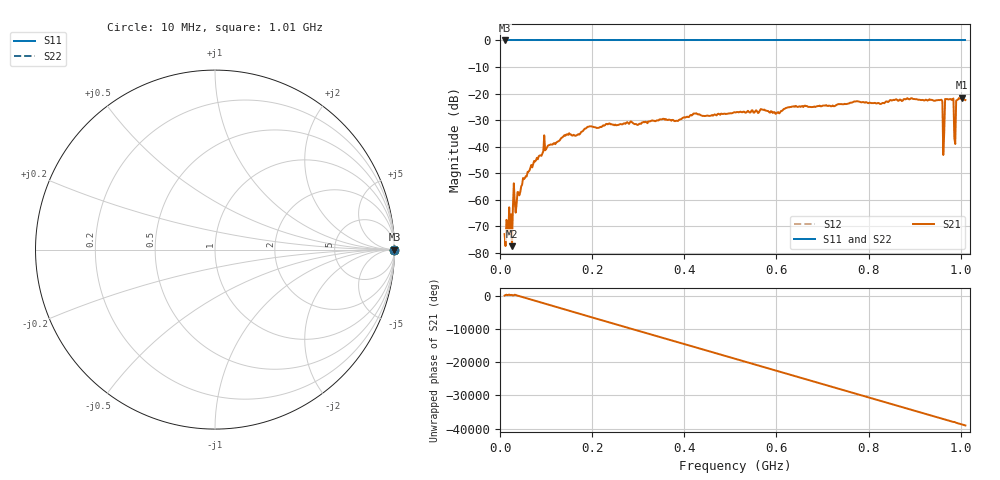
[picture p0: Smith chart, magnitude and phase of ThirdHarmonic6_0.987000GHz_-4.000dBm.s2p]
! 8/16/2025 7:44:39 AM
! C:\ANRITSUVNA\TEMP\TEMP.S2P
! CHANNEL.1
! TR.MEASUREMENT
! RAW.DATA
! RF.CORRECTION.OFF
! AVERAGING.OFF
! IF.BANDWIDTH: 5KHZ
! SWEEPTYPE:  FREQ.SWEEP(Linear)
! Reference Plane Port Info
! PORT:  PORT1  PORT2
! DISTANCE:  0  m  0  m
! TIME:  0  s  0  s
! PHASE.OFFSET:  0  deg.  0  deg.
! LOSS:  0  dB  0  dB
! REF.LOSS:  0  dB  0  dB
! REF.FREQ:  0  Hz  0  Hz
! Power Info
! POWER:  -20  dBm  -20  dBm
! EFF.POWER:  -20  dBm  -20  dBm
! SOURCE.ATTEN:  0  dB  0  dB
! TEST.ATTEN:  0  dB  0  dB
# GHZ S RI R 50.0
! FREQ.GHZ  S11RE  S11IM  S21RE  S21IM  S12RE  S12IM  S22RE  S22IM
!; PortSelection: Port_12
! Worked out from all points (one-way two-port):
!   501 points, 10 MHz to 1.01 GHz, reference 50 ohm
!   highest |S21| = -21.53 dB at 1.002 GHz (marker M1); lowest = -77.4 dB at 26 MHz (marker M2)
!   lowest |S11| = 0.0 dB at 10 MHz (marker M3)
!   |S11| at or under -10 dB: nowhere
!   |S22| runs from 0.0 to 0.0 dB; largest |S21 - S12| = 1.1
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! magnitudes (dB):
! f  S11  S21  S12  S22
! 10 MHz  0.0  -72.9  0.0  0.0
! 20 MHz  0.0  -62.8  0.0  0.0
! 22 MHz  0.0  -72.8  0.0  0.0
! 26 MHz  0.0  -77.4  0.0  0.0
! 34 MHz  0.0  -64.8  0.0  0.0
! 52 MHz  0.0  -52.2  0.0  0.0
! 98 MHz  0.0  -41.3  0.0  0.0
! 178 MHz  0.0  -34.2  0.0  0.0
! 344 MHz  0.0  -30.1  0.0  0.0
! 510 MHz  0.0  -27.1  0.0  0.0
! 678 MHz  0.0  -25.0  0.0  0.0
! 844 MHz  0.0  -23.0  0.0  0.0
! 956 MHz  0.0  -22.4  0.0  0.0
! 960 MHz  0.0  -22.9  0.0  0.0
! 966 MHz  0.0  -22.0  0.0  0.0
! 970 MHz  0.0  -22.0  0.0  0.0
! 980 MHz  0.0  -22.4  0.0  0.0
! 984 MHz  0.0  -21.9  0.0  0.0
! 990 MHz  0.0  -22.6  0.0  0.0
! 994 MHz  0.0  -22.2  0.0  0.0
! 1.002 GHz  0.0  -21.5  0.0  0.0
! 1.01 GHz  0.0  -22.4  0.0  0.0
